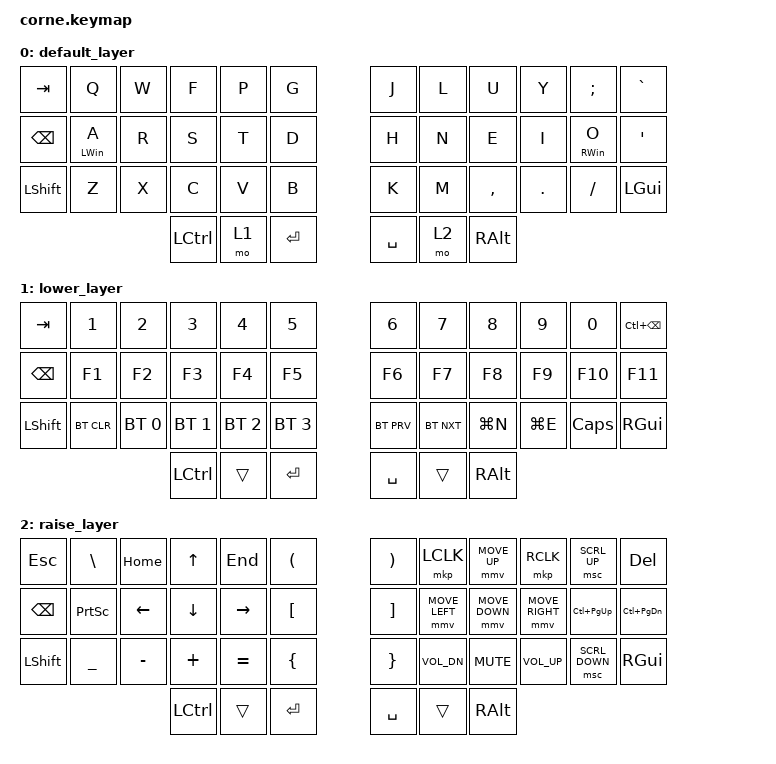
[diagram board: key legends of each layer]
/*
 * Copyright (c) 2020 The ZMK Contributors
 *
 * SPDX-License-Identifier: MIT
 */

#include <behaviors.dtsi>
#include <dt-bindings/zmk/bt.h>
#include <dt-bindings/zmk/keys.h>
#include <dt-bindings/zmk/pointing.h>

/ {
    behaviors {
        hml: home_row_mod_left {
            compatible = "zmk,behavior-hold-tap";
            label = "HML";
            #binding-cells = <2>;
            flavor = "balanced";
            tapping-term-ms = <200>;
            quick-tap-ms = <150>;
            require-prior-idle-ms = <120>;
            retro-tap;

            /* Right-hand positions (based on your 42 bindings order) */

            hold-trigger-key-positions = <6 7 8 9 10 11 18 19 20 21 22 23 30 31 32 33 34 35 39 40 41>;
            bindings = <&kp>, <&kp>;
        };

        hmr: home_row_mod_right {
            compatible = "zmk,behavior-hold-tap";
            label = "HMR";
            #binding-cells = <2>;
            flavor = "balanced";
            tapping-term-ms = <200>;
            quick-tap-ms = <150>;
            require-prior-idle-ms = <120>;
            retro-tap;

            /* Left-hand positions */

            hold-trigger-key-positions = <0 1 2 3 4 5 12 13 14 15 16 17 24 25 26 27 28 29 36 37 38>;
            bindings = <&kp>, <&kp>;
        };
    };

    keymap {
        compatible = "zmk,keymap";

        default_layer {
            bindings = <
&kp TAB        &kp Q            &kp W  &kp F      &kp P  &kp G        &kp J      &kp L  &kp U      &kp Y    &kp SEMICOLON     &kp GRAVE
&kp BACKSPACE  &hml LEFT_WIN A  &kp R  &kp S      &kp T  &kp D        &kp H      &kp N  &kp E      &kp I    &hmr RIGHT_WIN O  &kp SQT
&kp LSHFT      &kp Z            &kp X  &kp C      &kp V  &kp B        &kp K      &kp M  &kp COMMA  &kp DOT  &kp FSLH          &kp LGUI
                                       &kp LCTRL  &mo 1  &kp ENTER    &kp SPACE  &mo 2  &kp RALT
            >;
        };

        lower_layer {
            bindings = <
&kp TAB         &kp N1      &kp N2        &kp N3            &kp N4        &kp N5          &kp N6      &kp N7      &kp N8     &kp N9     &kp N0        &kp LC(BSPC)
&kp BACKSPACE   &kp F1      &kp F2        &kp F3            &kp F4        &kp F5          &kp F6      &kp F7      &kp F8     &kp F9     &kp F10       &kp F11
&kp LEFT_SHIFT  &bt BT_CLR  &bt BT_SEL 0  &bt BT_SEL 1      &bt BT_SEL 2  &bt BT_SEL 3    &bt BT_PRV  &bt BT_NXT  &kp LG(N)  &kp LG(E)  &kp CAPSLOCK  &kp RGUI
                                          &kp LEFT_CONTROL  &trans        &kp ENTER       &kp SPACE   &trans      &kp RALT
            >;
        };

        raise_layer {
            bindings = <
&kp ESC        &kp BACKSLASH   &kp HOME   &kp UP     &kp END    &kp LEFT_PARENTHESIS    &kp RIGHT_PARENTHESIS  &mkp LCLK       &mmv MOVE_UP    &mkp RCLK        &msc SCRL_UP    &kp DELETE
&kp BACKSPACE  &kp PSCRN       &kp LEFT   &kp DOWN   &kp RIGHT  &kp LEFT_BRACKET        &kp RIGHT_BRACKET      &mmv MOVE_LEFT  &mmv MOVE_DOWN  &mmv MOVE_RIGHT  &kp LC(PG_UP)   &kp LC(PG_DN)
&kp LSHFT      &kp UNDERSCORE  &kp MINUS  &kp PLUS   &kp EQUAL  &kp LEFT_BRACE          &kp RIGHT_BRACE        &kp C_VOL_DN    &kp C_MUTE      &kp C_VOLUME_UP  &msc SCRL_DOWN  &kp RGUI
                                          &kp LCTRL  &trans     &kp ENTER               &kp SPACE              &trans          &kp RALT
            >;
        };
    };
};
